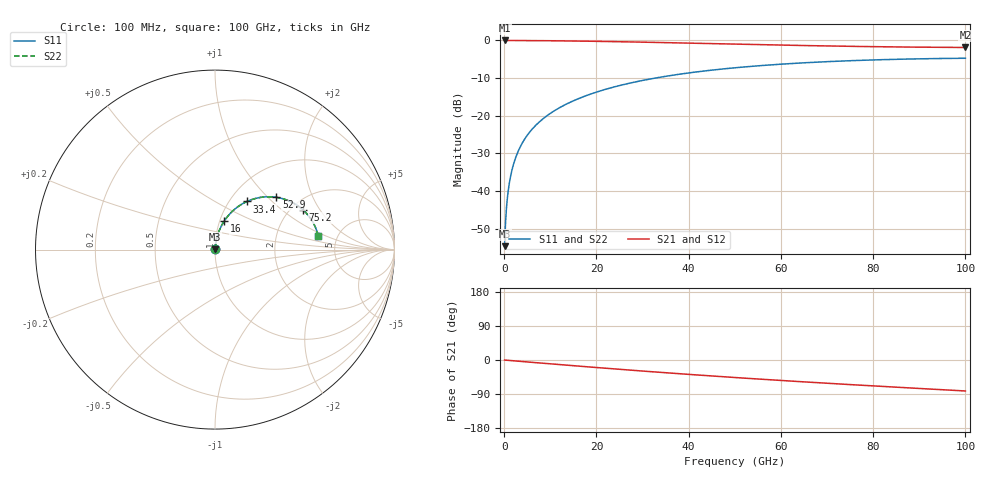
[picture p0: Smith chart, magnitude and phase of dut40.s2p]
! Touchstone file exported from HFSS 2026.1.0
!  File:  C:/ffzhzh/LocalFiles/Ansys_Project_Files/temp_train_RDL_40_1783498141_55944.aedt
!  Generated:  04:10:05 PM Jul  8, 2026
!  Design:  RDL
!  Project:  temp_train_RDL_40_1783498141_55944
! Variables:
!  h_bsmrdl = 2um
!  h_ox = 20um
!  h_rdl = 5um
!  h_sub = 80um
!  h_tmrdl = 4.22um
!  h_tsv = 80um
!  h_via = 3um
!  l_bsmrdl = 300um
!  l_sub = 655.46um
!  l_tmrdl = 255.46um
!  m_sub = 200um
!  pitch = 42.48um
!  r_tsv = 6um
!  s_tmrdl = 10um
!  w_bsmrdl = 18um
!  w_sub = 500um
!  w_tmrdl = 16.76um
!  x_tsv_center1 = 263.84um
!  x_tsv_center2 = 581.84um
!  x_tsv_center3 = 854.06um
!  x_tsv_center4 = 1172.06um
!  x_tsv_center5 = 1444.28um
!  x_tsv_center6 = 1762.28um
# GHz S MA R 50.000000
! Terminal data exported
! Port[1] = TM_RDL1_1_T1
! Port[2] = TM_RDL1_1_T2
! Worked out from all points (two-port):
!   1000 points, 100 MHz to 100 GHz, reference 50 ohm
!   highest |S21| = -0.01 dB at 100 MHz (marker M1); lowest = -1.9 dB at 100 GHz (marker M2)
!   |S21| within 3 dB of the highest: start of sweep to end of sweep
!   lowest |S11| = -54.6 dB at 100 MHz (marker M3), VSWR 1.00, Z = 50.1 + j0.12 ohm
!   |S11| at or under -10 dB: start of sweep to 32.73 GHz
!   |S22| runs from -54.6 to -4.7 dB; largest |S21 - S12| = 3.5e-15
!   S11 on the Smith chart (normalised r, x): 100 MHz: 1.00, +0.00; 16 GHz: 1.05, +0.34; 33.4 GHz: 1.20, +0.72; 52.9 GHz: 1.54, +1.12; 75.2 GHz: 2.31, +1.43; 100 GHz: 3.55, +0.83
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0.1  0.00186 39.9  0.9986 -0.1  0.9986 -0.1  0.00186 39.9
! Gamma 0 0 0 0
! Port Impedance 50 0 50 0
0.4  0.004881 70.7  0.9984 -0.4  0.9984 -0.4  0.004881 70.7
0.8  0.009198 78.5  0.9983 -0.8  0.9983 -0.8  0.009198 78.5
1.1  0.01248 80.8  0.9982 -1.1  0.9982 -1.1  0.01248 80.8
1.4  0.01578 82.0  0.9981 -1.5  0.9981 -1.5  0.01578 82.0
1.9  0.02129 82.9  0.9979 -2.0  0.9979 -2.0  0.02129 82.9
2.4  0.02679 83.2  0.9976 -2.5  0.9976 -2.5  0.02679 83.2
3  0.03337 83.1  0.9972 -3.1  0.9972 -3.1  0.03337 83.1
3.8  0.04209 82.7  0.9967 -3.9  0.9967 -3.9  0.04209 82.7
5.8  0.06357 81.2  0.9948 -5.9  0.9948 -5.9  0.06357 81.2
8.5  0.09194 78.9  0.9918 -8.6  0.9918 -8.6  0.09194 78.9
11.9  0.1268 75.8  0.9871 -12.0  0.9871 -12.0  0.1268 75.8
16  0.1676 72.1  0.9802 -16.0  0.9802 -16.0  0.1676 72.1
16.8  0.1754 71.4  0.9788 -16.8  0.9788 -16.8  0.1754 71.3
24.2  0.2444 64.6  0.9629 -23.8  0.9629 -23.8  0.2444 64.6
33.4  0.3215 56.5  0.9393 -32.2  0.9393 -32.2  0.3215 56.5
50.1  0.4337 42.7  0.8927 -46.3  0.8927 -46.3  0.4337 42.6
52.9  0.449 40.5  0.8851 -48.5  0.8851 -48.5  0.449 40.4
66.7  0.5108 30.2  0.8512 -59.0  0.8512 -59.0  0.5108 30.1
75.2  0.5384 24.2  0.8342 -65.0  0.8342 -65.0  0.5385 24.1
83.4  0.5583 18.6  0.8212 -70.7  0.8212 -70.7  0.5583 18.6
100  0.5799 7.7  0.8061 -81.7  0.8061 -81.7  0.5799 7.7
